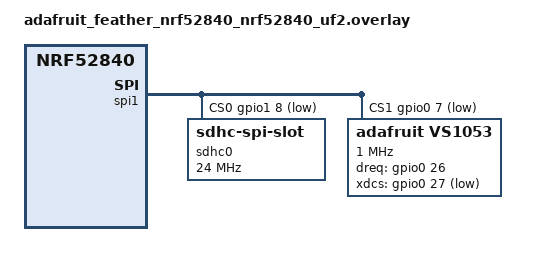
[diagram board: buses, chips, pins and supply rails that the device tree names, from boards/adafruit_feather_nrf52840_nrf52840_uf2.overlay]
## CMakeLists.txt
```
# SPDX-License-Identifier: Apache-2.0

cmake_minimum_required(VERSION 3.20.0)
find_package(Zephyr REQUIRED HINTS $ENV{ZEPHYR_BASE})
project(mesh_audio_test)

target_sources(app PRIVATE
  src/main.c
  src/vs1053.c
  src/chat_cli.c
  src/model_handler.c
)

target_include_directories(app PRIVATE include)
```

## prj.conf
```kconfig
# Bisection step 4 (final): shell + SD card + VS1053 + BT Mesh. This
# combines everything already proven working in isolation
# (tmp/shell_test, tmp/sd_test, tmp/audio_test) with the mesh chat
# model, unchanged from the main MeshyQ app.

CONFIG_NCS_SAMPLES_DEFAULTS=y
CONFIG_LOG_MODE_DEFERRED=y

CONFIG_FLASH=y
CONFIG_FLASH_MAP=y
CONFIG_NVS=y
CONFIG_SETTINGS=y
CONFIG_NVS_LOOKUP_CACHE=y
CONFIG_SETTINGS_NVS_NAME_CACHE=y
CONFIG_HWINFO=y
CONFIG_GPIO=y
CONFIG_SPI=y

# SD card (Music Maker FeatherWing) storage
CONFIG_DISK_ACCESS=y
CONFIG_FILE_SYSTEM=y
CONFIG_FAT_FILESYSTEM_ELM=y

# Bluetooth configuration
CONFIG_BT=y
CONFIG_BT_DEVICE_NAME="MeshyQ"
CONFIG_BT_L2CAP_TX_BUF_COUNT=16
CONFIG_BT_OBSERVER=y
CONFIG_BT_PERIPHERAL=y
CONFIG_BT_SETTINGS=y

# Disable unused Bluetooth features
CONFIG_BT_CTLR_LE_ENC=n
CONFIG_BT_PHY_UPDATE=n
CONFIG_BT_CTLR_CHAN_SEL_2=n
CONFIG_BT_CTLR_MIN_USED_CHAN=n
CONFIG_BT_CTLR_PRIVACY=n

# Bluetooth Mesh configuration
CONFIG_BT_MESH=y
CONFIG_BT_MESH_RELAY=y
CONFIG_BT_MESH_FRIEND=y

# Mesh buffer and segment configuration (fixes "Unable to allocate loopback")
CONFIG_BT_MESH_LOOPBACK_BUFS=8
CONFIG_BT_MESH_RX_SEG_MAX=16
CONFIG_BT_MESH_TX_SEG_MAX=16
CONFIG_BT_MESH_TX_SEG_MSG_COUNT=4

CONFIG_BT_MESH_PB_GATT=y
CONFIG_BT_MESH_GATT_PROXY=y
CONFIG_BT_MESH_CFG_CLI=y

# Enable Bluetooth Mesh models debug logs
CONFIG_BT_MESH_LOG_LEVEL_DBG=y

# Enable Shell module, USB CDC-ACM backend comes from the board's own
# uf2 defconfig (same as tmp/shell_test and every step since).
CONFIG_SHELL=y
CONFIG_SHELL_BACKEND_SERIAL=y
CONFIG_FLASH_SHELL=n

CONFIG_LOG_BACKEND_RTT=n

# Same sizing already proven necessary/sufficient in tmp/sd_test and
# tmp/audio_test for FAT + SD-over-SPI, carried over unchanged. Bumped
# a bit further here since this path also brings up Bluetooth/mesh in
# the same boot sequence.
CONFIG_MAIN_STACK_SIZE=8192
CONFIG_HEAP_MEM_POOL_SIZE=4096
CONFIG_SYSTEM_WORKQUEUE_STACK_SIZE=2048

# So a stack overflow shows up as a clear fault message instead of a
# silent crash/reset, if it happens again.
CONFIG_HW_STACK_PROTECTION=y
```

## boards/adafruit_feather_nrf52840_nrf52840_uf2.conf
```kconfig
# Same fix as every other bisection app: without this, Zephyr ignores
# the board's devicetree partition layout and links the app at address
# 0, which overlaps the Adafruit bootloader and bricks the board.
CONFIG_USE_DT_CODE_PARTITION=y
```

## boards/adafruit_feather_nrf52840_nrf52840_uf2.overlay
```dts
/*
 * Adafruit Music Maker FeatherWing w/ Amp (VS1053 + microSD), stacked
 * directly on the Feather header. SD portion matches tmp/sd_test
 * (proven working on hardware); VS1053 node matches the main project's
 * boards/adafruit_feather_nrf52840_nrf52840.overlay, not yet tested on
 * hardware.
 *
 * SCK/MOSI/MISO come from the board's default feather_spi (spi1) pins.
 * The two SPI devices below (VS1053 command interface and the SD card)
 * each get their own entry in spi1's cs-gpios, selected by their `reg`
 * index. VS1053 XDCS (data chip-select) and DREQ are not part of the
 * SPI framework's CS handling and are toggled/read manually by the
 * vs1053 driver. The wing ties VS1053 reset to the Feather's shared
 * reset line, so there's no separate reset GPIO.
 *
 *   SD card CS   -> D5  (P1.08)
 *   VS1053 XCS   -> D6  (P0.07)
 *   VS1053 DREQ  -> D9  (P0.26)
 *   VS1053 XDCS  -> D10 (P0.27)
 */

&spi1 {
	status = "okay";
	cs-gpios = <&gpio1 8 GPIO_ACTIVE_LOW>,
		   <&gpio0 7 GPIO_ACTIVE_LOW>;

	sdhc0: sdhc@0 {
		compatible = "zephyr,sdhc-spi-slot";
		reg = <0>;
		status = "okay";
		spi-max-frequency = <24000000>;

		mmc {
			compatible = "zephyr,sdmmc-disk";
			disk-name = "SD";
			status = "okay";
		};
	};

	vs1053: vs1053@1 {
		compatible = "adafruit,vs1053";
		reg = <1>;
		status = "okay";
		spi-max-frequency = <1000000>;
		dreq-gpios = <&gpio0 26 GPIO_ACTIVE_HIGH>;
		xdcs-gpios = <&gpio0 27 GPIO_ACTIVE_LOW>;
	};
};
```

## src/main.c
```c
/** @file
 *  @brief Bisection step 4 (final): BT Mesh self-provisioning node with
 *  SD card + VS1053 playback triggered by received mesh messages.
 *
 *  A received mesh chat message that matches a filename in the SD
 *  card's root directory plays automatically — see model_handler.c's
 *  play_if_known_file(), which calls audio_player_play_file() below.
 *  The ls/play/volume shell commands from tmp/audio_test are kept too,
 *  for testing independent of mesh (e.g. on a lone, unprovisioned DUT).
 */
#include <errno.h>
#include <stdlib.h>
#include <string.h>

#include <zephyr/bluetooth/bluetooth.h>
#include <bluetooth/mesh/models.h>
#include <zephyr/drivers/hwinfo.h>
#include <zephyr/fs/fs.h>
#include <zephyr/kernel.h>
#include <zephyr/logging/log.h>
#include <zephyr/shell/shell.h>

#include <ff.h>

#include "chat_cli.h"
#include "model_handler.h"
#include "vs1053.h"

LOG_MODULE_REGISTER(chat, CONFIG_LOG_DEFAULT_LEVEL);

/******************************************************************************/
/**************************** SD card + VS1053 *********************************/
/******************************************************************************/
#define SD_MOUNT_POINT "/SD:"
#define PATH_MAX_LEN 128
#define READ_CHUNK 512

/* Matches vs1053.c's own startup default (VS1053_DEFAULT_VOL_ATTEN =
 * 0x20), just expressed on the 0-100 scale used by the shell command
 * below, so the reported "current" volume is right from boot even
 * before the volume command is ever used.
 */
#define VOLUME_DEFAULT_PERCENT 87

static FATFS fat_fs;
static struct fs_mount_t mp = {
	.type = FS_FATFS,
	.fs_data = &fat_fs,
	.mnt_point = SD_MOUNT_POINT,
};
static bool sd_mounted;
static bool vs1053_ready;
static uint8_t volume_percent = VOLUME_DEFAULT_PERCENT;

/* VS1053's SCI_VOL register is an attenuation in 0.5 dB steps: 0x00 is
 * loudest, 0xFE is the quietest non-powerdown value (0xFF cuts the
 * channel's analog output entirely, so it's deliberately never reached
 * here). Map the shell's 0-100 "volume" onto that range.
 */
static uint8_t percent_to_attenuation(uint8_t percent)
{
	return (uint8_t)((100 - percent) * 254 / 100);
}

static int cmd_ls(const struct shell *shell, size_t argc, char *argv[])
{
	struct fs_dir_t dir;
	int err;

	if (!sd_mounted) {
		shell_error(shell, "SD card not mounted");
		return -ENODEV;
	}

	fs_dir_t_init(&dir);

	err = fs_opendir(&dir, SD_MOUNT_POINT);
	if (err) {
		shell_error(shell, "Failed to open %s: %d", SD_MOUNT_POINT, err);
		return err;
	}

	while (1) {
		struct fs_dirent entry;

		err = fs_readdir(&dir, &entry);
		if (err) {
			shell_error(shell, "Read error: %d", err);
			break;
		}

		if (entry.name[0] == '\0') {
			break;
		}

		if (entry.type == FS_DIR_ENTRY_DIR) {
			shell_print(shell, "%s/", entry.name);
		} else {
			shell_print(shell, "%-32s %u", entry.name, entry.size);
		}
	}

	fs_closedir(&dir);
	return 0;
}

SHELL_CMD_ARG_REGISTER(ls, NULL, "List the SD card's root directory", cmd_ls, 1, 0);

/* Root directory only: reject anything that could reference a
 * subdirectory or walk out of it.
 */
static bool resolve_root_file(const char *filename, char *path_out, size_t path_out_size)
{
	struct fs_dirent entry;
	size_t needed;

	if (!filename || filename[0] == '\0') {
		return false;
	}

	if (strchr(filename, '/') || strchr(filename, '\\') || strcmp(filename, ".") == 0 ||
	    strcmp(filename, "..") == 0) {
		return false;
	}

	needed = strlen(SD_MOUNT_POINT) + 1 + strlen(filename) + 1;
	if (needed > path_out_size) {
		return false;
	}

	snprintf(path_out, path_out_size, "%s/%s", SD_MOUNT_POINT, filename);

	if (fs_stat(path_out, &entry) != 0) {
		return false;
	}

	return entry.type == FS_DIR_ENTRY_FILE;
}

/* Shared by the `play` shell command and mesh message reception
 * (model_handler.c's play_if_known_file() calls this by name).
 */
int audio_player_play_file(const char *filename)
{
	char path[PATH_MAX_LEN];
	static uint8_t chunk[READ_CHUNK];
	struct fs_file_t file;
	int err;

	if (!sd_mounted || !vs1053_ready) {
		return -ENODEV;
	}

	if (!resolve_root_file(filename, path, sizeof(path))) {
		return -ENOENT;
	}

	fs_file_t_init(&file);

	err = fs_open(&file, path, FS_O_READ);
	if (err) {
		return err;
	}

	while (1) {
		ssize_t read = fs_read(&file, chunk, sizeof(chunk));

		if (read < 0) {
			err = (int)read;
			break;
		}

		if (read == 0) {
			err = 0;
			break;
		}

		err = vs1053_play_data(chunk, (size_t)read);
		if (err) {
			break;
		}
	}

	vs1053_stop();
	fs_close(&file);

	return err;
}

static int cmd_play(const struct shell *shell, size_t argc, char *argv[])
{
	int err;

	shell_print(shell, "Playing %s", argv[1]);

	err = audio_player_play_file(argv[1]);
	if (err == -ENODEV) {
		shell_error(shell, "SD card or VS1053 not ready");
		return err;
	} else if (err == -ENOENT) {
		shell_error(shell, "No such file in the SD card's root directory: %s", argv[1]);
		return err;
	} else if (err) {
		shell_error(shell, "Playback error: %d", err);
		return err;
	}

	shell_print(shell, "Done");
	return 0;
}

SHELL_CMD_ARG_REGISTER(play, NULL, "Play a file from the SD card's root directory <filename>",
			cmd_play, 2, 0);

/* Volume is a VS1053 hardware register, not a per-file setting: it
 * stays wherever it's set across every subsequent `play` (and every
 * mesh-triggered playback), so it's its own command rather than a
 * `play` argument.
 */
static int cmd_volume(const struct shell *shell, size_t argc, char *argv[])
{
	long percent;
	char *endptr;

	if (argc == 1) {
		shell_print(shell, "Volume: %u%%", volume_percent);
		return 0;
	}

	if (!vs1053_ready) {
		shell_error(shell, "VS1053 not initialized");
		return -ENODEV;
	}

	percent = strtol(argv[1], &endptr, 10);
	if (*endptr != '\0' || percent < 0 || percent > 100) {
		shell_error(shell, "Volume must be 0-100");
		return -EINVAL;
	}

	volume_percent = (uint8_t)percent;
	vs1053_set_volume(percent_to_attenuation(volume_percent),
			   percent_to_attenuation(volume_percent));
	shell_print(shell, "Volume set to %u%%", volume_percent);

	return 0;
}

SHELL_CMD_ARG_REGISTER(volume, NULL, "Get or set output volume, persists across play [0-100]",
			cmd_volume, 1, 1);

static void audio_hw_init(void)
{
	int err;

	err = fs_mount(&mp);
	if (err) {
		LOG_ERR("Failed to mount SD card: %d", err);
		printk("SD card mount failed (err %d)\n", err);
	} else {
		sd_mounted = true;
		printk("SD card mounted at %s\n", SD_MOUNT_POINT);
	}

	err = vs1053_init();
	if (err) {
		LOG_ERR("Failed to initialize VS1053: %d", err);
		printk("VS1053 init failed (err %d)\n", err);
	} else {
		vs1053_ready = true;
		/* Make sure the tracked volume_percent and the chip's actual
		 * register agree from boot, rather than relying on two
		 * separately-maintained defaults staying in sync.
		 */
		vs1053_set_volume(percent_to_attenuation(volume_percent),
				   percent_to_attenuation(volume_percent));
		printk("VS1053 ready (volume %u%%)\n", volume_percent);
	}
}

/******************************************************************************/
/******************************** BT Mesh **************************************/
/******************************************************************************/
/* Pre-shared keys — identical on all nodes. Not for production use. */
static const uint8_t net_key[16] = {
	0x01, 0x23, 0x45, 0x67, 0x89, 0xab, 0xcd, 0xef,
	0x01, 0x23, 0x45, 0x67, 0x89, 0xab, 0xcd, 0xef,
};
static const uint8_t dev_key[16] = {
	0x01, 0x23, 0x45, 0x67, 0x89, 0xab, 0xcd, 0xef,
	0x01, 0x23, 0x45, 0x67, 0x89, 0xab, 0xcd, 0xef,
};
static const uint8_t app_key[16] = {
	0x01, 0x23, 0x45, 0x67, 0x89, 0xab, 0xcd, 0xef,
	0x01, 0x23, 0x45, 0x67, 0x89, 0xab, 0xcd, 0xef,
};

/* Group address for broadcast chat messages */
#define CHAT_GROUP_ADDR 0xC000

static uint8_t dev_uuid[16];
static uint16_t node_addr;

static const struct bt_mesh_prov prov = {
	.uuid = dev_uuid,
};

/* Each node needs a distinct unicast address: two self-provisioned nodes
 * sharing one address silently break the mesh (replay protection is keyed
 * by (address, sequence number), so their traffic starts colliding). Fold
 * the chip's factory-unique hardware ID down to a 15-bit Bluetooth Mesh
 * unicast address instead of relying on a hand-picked, per-board build
 * setting.
 */
static uint16_t derive_node_addr(const uint8_t *id, size_t len)
{
	uint16_t addr = 0;

	for (size_t i = 0; i < len; i++) {
		addr = (uint16_t)((addr * 31) + id[i]);
	}

	/* Bluetooth Mesh unicast addresses are 15-bit and must not be 0. */
	addr &= 0x7FFF;
	if (addr == 0) {
		addr = 1;
	}

	return addr;
}

static void configure(void)
{
	int err;

	printk("Configuring models...\n");

	err = bt_mesh_cfg_cli_app_key_add(0, node_addr, 0, 0, app_key, NULL);
	printk("  App key add: %d\n", err);
	k_sleep(K_MSEC(500));

	err = bt_mesh_cfg_cli_mod_app_bind(0, node_addr, node_addr, 0,
					   BT_MESH_MODEL_ID_HEALTH_SRV, NULL);
	printk("  Health bind: %d\n", err);
	k_sleep(K_MSEC(500));

	err = bt_mesh_cfg_cli_mod_app_bind_vnd(0, node_addr, node_addr, 0,
					       BT_MESH_CHAT_CLI_VENDOR_MODEL_ID,
					       BT_MESH_CHAT_CLI_VENDOR_COMPANY_ID,
					       NULL);
	printk("  Chat bind: %d\n", err);
	k_sleep(K_MSEC(500));

	err = bt_mesh_cfg_cli_mod_sub_add_vnd(0, node_addr, node_addr,
					      CHAT_GROUP_ADDR,
					      BT_MESH_CHAT_CLI_VENDOR_MODEL_ID,
					      BT_MESH_CHAT_CLI_VENDOR_COMPANY_ID,
					      NULL);
	printk("  Chat subscription: %d\n", err);
	k_sleep(K_MSEC(500));

	/* Publication must be set directly; CFG CLI pub_set is fire-and-forget
	 * and the loopback STATUS response is not guaranteed before first send. */
	model_handler_set_pub(CHAT_GROUP_ADDR, 0, BT_MESH_TTL_DEFAULT);

	printk("Self-configuration complete\n");
}

static void bt_ready(int err)
{
	if (err) {
		printk("Bluetooth init failed (err %d)\n", err);
		return;
	}

	printk("Bluetooth initialized\n");

	audio_hw_init();

	err = bt_mesh_init(&prov, model_handler_init());
	if (err) {
		printk("Initializing mesh failed (err %d)\n", err);
		return;
	}

	if (IS_ENABLED(CONFIG_SETTINGS)) {
		settings_load();
	}

	if (bt_mesh_is_provisioned() && model_handler_addr() != node_addr) {
		/* Stale provisioning from a different addressing scheme (e.g.
		 * an old fixed NODE_ADDR, or a previous test image) - reset
		 * once so this device re-provisions at its current
		 * node_addr. Only do this on an actual mismatch: resetting
		 * every boot would restart this node's sequence number at 0
		 * each time, which other nodes' replay protection would
		 * eventually start treating as a replay of already-seen
		 * traffic and silently drop.
		 */
		printk("Stale provisioning at 0x%04x, resetting to rejoin as 0x%04x\n",
		       model_handler_addr(), node_addr);
		bt_mesh_reset();
	}

	err = bt_mesh_provision(net_key, 0, 0, 0, node_addr, dev_key);
	if (err == -EALREADY) {
		printk("Using stored provisioning data (0x%04x)\n", node_addr);
	} else if (err) {
		printk("Provisioning failed (err %d)\n", err);
		return;
	} else {
		printk("Provisioned as node 0x%04x\n", node_addr);
	}

	k_sleep(K_MSEC(1000));
	configure();

	printk("Mesh initialized\n");
}

int main(void)
{
	int err;

	printk("Initializing...\n");

	ssize_t id_len = hwinfo_get_device_id(dev_uuid, sizeof(dev_uuid));

	if (id_len < 0) {
		printk("hwinfo_get_device_id failed (err %d)\n", (int)id_len);
		id_len = 0;
	}
	node_addr = derive_node_addr(dev_uuid, (size_t)id_len);
	printk("Derived mesh node address: 0x%04x\n", node_addr);

	err = bt_enable(bt_ready);
	if (err) {
		printk("Bluetooth init failed (err %d)\n", err);
	}

	return 0;
}
```

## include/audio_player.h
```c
#ifndef AUDIO_PLAYER_H_
#define AUDIO_PLAYER_H_

/**
 * @brief Play a file from the SD card's root directory, if it exists.
 *
 * Implemented in src/main.c for this test (synchronously, on whatever
 * thread calls it), matching the signature model_handler.c expects.
 *
 * @retval 0        Playback finished.
 * @retval -ENOENT  No such file in the SD card's root directory.
 * @retval -ENODEV  SD card or VS1053 not ready.
 */
int audio_player_play_file(const char *filename);

#endif
```

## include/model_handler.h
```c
/*
 * Copyright (c) 2020 Nordic Semiconductor ASA
 *
 * SPDX-License-Identifier: LicenseRef-Nordic-5-Clause
 */

/**
 * @file
 * @brief Model handler
 */

#ifndef MODEL_HANDLER_H__
#define MODEL_HANDLER_H__

#include <zephyr/bluetooth/mesh.h>

#ifdef __cplusplus
extern "C" {
#endif

const struct bt_mesh_comp *model_handler_init(void);
void model_handler_set_pub(uint16_t addr, uint16_t app_key_idx, uint8_t ttl);

/** @brief Get the chat model's element address, or 0 if not yet
 * provisioned. Valid after model_handler_init() + bt_mesh_init() +
 * settings_load().
 */
uint16_t model_handler_addr(void);

#ifdef __cplusplus
}
#endif

#endif /* MODEL_HANDLER_H__ */
```
